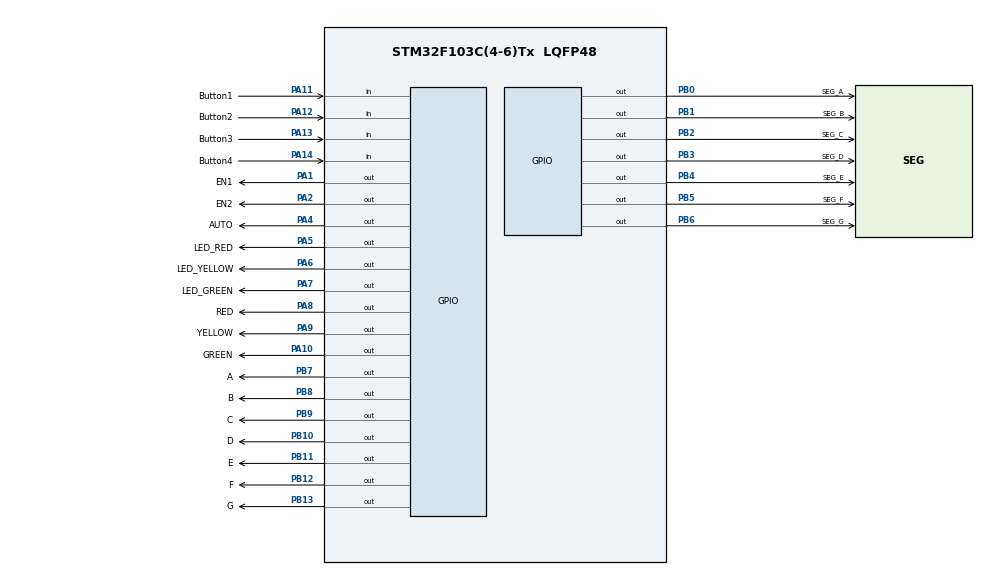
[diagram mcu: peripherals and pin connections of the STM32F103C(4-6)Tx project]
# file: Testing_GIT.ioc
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Mcu.Family=STM32F1
Mcu.Name=STM32F103C(4-6)Tx
Mcu.Package=LQFP48
NVIC.PriorityGroup=NVIC_PRIORITYGROUP_4
NVIC.TIM2_IRQn=true\:0\:0\:false\:false\:true\:true\:true
PA1.GPIO_Label=EN1
PA1.Signal=GPIO_Output
PA10.GPIO_Label=GREEN
PA10.Signal=GPIO_Output
PA11.GPIO_Label=Button1
PA11.GPIO_PuPd=GPIO_PULLUP
PA11.Signal=GPIO_Input
PA12.GPIO_Label=Button2
PA12.GPIO_PuPd=GPIO_PULLUP
PA12.Signal=GPIO_Input
PA13.GPIO_Label=Button3
PA13.GPIO_PuPd=GPIO_PULLUP
PA13.Signal=GPIO_Input
PA14.GPIO_Label=Button4
PA14.GPIO_PuPd=GPIO_PULLUP
PA14.Signal=GPIO_Input
PA2.GPIO_Label=EN2
PA2.Signal=GPIO_Output
PA4.GPIO_Label=AUTO
PA4.Signal=GPIO_Output
PA5.GPIO_Label=LED_RED
PA5.Signal=GPIO_Output
PA6.GPIO_Label=LED_YELLOW
PA6.Signal=GPIO_Output
PA7.GPIO_Label=LED_GREEN
PA7.Signal=GPIO_Output
PA8.GPIO_Label=RED
PA8.Signal=GPIO_Output
PA9.GPIO_Label=YELLOW
PA9.Signal=GPIO_Output
PB0.GPIO_Label=SEG_A
PB0.Signal=GPIO_Output
PB1.GPIO_Label=SEG_B
PB1.Signal=GPIO_Output
PB10.GPIO_Label=D
PB10.Signal=GPIO_Output
PB11.GPIO_Label=E
PB11.Signal=GPIO_Output
PB12.GPIO_Label=F
PB12.Signal=GPIO_Output
PB13.GPIO_Label=G
PB13.Signal=GPIO_Output
PB2.GPIO_Label=SEG_C
PB2.Signal=GPIO_Output
PB3.GPIO_Label=SEG_D
PB3.Signal=GPIO_Output
PB4.GPIO_Label=SEG_E
PB4.Signal=GPIO_Output
PB5.GPIO_Label=SEG_F
PB5.Signal=GPIO_Output
PB6.GPIO_Label=SEG_G
PB6.Signal=GPIO_Output
PB7.GPIO_Label=A
PB7.Signal=GPIO_Output
PB8.GPIO_Label=B
PB8.Signal=GPIO_Output
PB9.GPIO_Label=C
PB9.Signal=GPIO_Output
ProjectManager.HeapSize=0x200
ProjectManager.StackSize=0x400
ProjectManager.TargetToolchain=STM32CubeIDE
RCC.APB1Freq_Value=8000000
RCC.APB2Freq_Value=8000000
TIM2.Period=9
TIM2.Prescaler=7999
VP_SYS_VS_ND.Mode=No_Debug
VP_TIM2_VS_ClockSourceINT.Mode=Internal
board=custom

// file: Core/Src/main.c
/* USER CODE BEGIN Header */
/**
  ******************************************************************************
  * @file           : main.c
  * @brief          : Main program body
  ******************************************************************************
  * @attention
  *
  * <h2><center>&copy; Copyright (c) 2025 STMicroelectronics.
  * All rights reserved.</center></h2>
  *
  * This software component is licensed by ST under BSD 3-Clause license,
  * the "License"; You may not use this file except in compliance with the
  * License. You may obtain a copy of the License at:
  *                        opensource.org/licenses/BSD-3-Clause
  *
  ******************************************************************************
  */
/* USER CODE END Header */
#include "main.h"

/* USER CODE BEGIN Includes */
#include "software_timer.h"
#include "button.h"
#include "fsm_automatic.h"
#include "fsm_setup.h"
#include "scheduler.h"
/* USER CODE END Includes */

TIM_HandleTypeDef htim2;

void SystemClock_Config(void);
static void MX_GPIO_Init(void);
static void MX_TIM2_Init(void);
/* USER CODE BEGIN PFP */
void toggleLedAuto(){
	if(timer0_flag == 1){
    HAL_GPIO_TogglePin(AUTO_GPIO_Port, AUTO_Pin);
    if(counter >= 0) counter--;
    setTimer0(100);
	}
}

void update7SEGTask(){
    update7SEG(index_led);
    index_led++;
    if(index_led > 1) index_led = 0;
}
/* USER CODE END PFP */

int main(void)
{

  /* MCU Configuration--------------------------------------------------------*/

  /* Reset of all peripherals, Initializes the Flash interface and the Systick. */
  HAL_Init();

  /* Configure the system clock */
  SystemClock_Config();

  /* Initialize all configured peripherals */
  MX_GPIO_Init();
  MX_TIM2_Init();
  /* USER CODE BEGIN 2 */
  HAL_TIM_Base_Start_IT(&htim2);
  /* USER CODE END 2 */

  /* Infinite loop */
  /* USER CODE BEGIN WHILE */
  status = INIT;
  counter = 0;
  counter_green = 3;
  counter_red = 5;
  counter_yellow = 2;
  setTimer0(100);

  SCH_Init();
  SCH_Add_Task(timerRun, 0, 10);
  SCH_Add_Task(fsm_automatic_run, 0, 50);   // chạy mỗi 100ms
  SCH_Add_Task(fsm_man, 0, 50);
  SCH_Add_Task(fsm_setup_run, 0, 50);
  SCH_Add_Task(toggleLedAuto, 0, 1000);
  SCH_Add_Task(update7SEGTask, 0, 500);
  SCH_Add_Task(getKeyInput, 0, 10);

  //setTimer2(10);
  //setTimer3(10);
  while (1)
  {
	 SCH_Dispatch_Tasks();
    /* USER CODE END WHILE */

  }
}

void SystemClock_Config(void)
{
  RCC_OscInitTypeDef RCC_OscInitStruct = {0};
  RCC_ClkInitTypeDef RCC_ClkInitStruct = {0};

  /** Initializes the RCC Oscillators according to the specified parameters
  * in the RCC_OscInitTypeDef structure.
  */
  RCC_OscInitStruct.OscillatorType = RCC_OSCILLATORTYPE_HSI;
  RCC_OscInitStruct.HSIState = RCC_HSI_ON;
  RCC_OscInitStruct.HSICalibrationValue = RCC_HSICALIBRATION_DEFAULT;
  RCC_OscInitStruct.PLL.PLLState = RCC_PLL_NONE;
  if (HAL_RCC_OscConfig(&RCC_OscInitStruct) != HAL_OK)
  {
    Error_Handler();
  }
  /** Initializes the CPU, AHB and APB buses clocks
  */
  RCC_ClkInitStruct.ClockType = RCC_CLOCKTYPE_HCLK|RCC_CLOCKTYPE_SYSCLK
                              |RCC_CLOCKTYPE_PCLK1|RCC_CLOCKTYPE_PCLK2;
  RCC_ClkInitStruct.SYSCLKSource = RCC_SYSCLKSOURCE_HSI;
  RCC_ClkInitStruct.AHBCLKDivider = RCC_SYSCLK_DIV1;
  RCC_ClkInitStruct.APB1CLKDivider = RCC_HCLK_DIV1;
  RCC_ClkInitStruct.APB2CLKDivider = RCC_HCLK_DIV1;

  if (HAL_RCC_ClockConfig(&RCC_ClkInitStruct, FLASH_LATENCY_0) != HAL_OK)
  {
    Error_Handler();
  }
}

static void MX_TIM2_Init(void)
{

  TIM_ClockConfigTypeDef sClockSourceConfig = {0};
  TIM_MasterConfigTypeDef sMasterConfig = {0};

  htim2.Instance = TIM2;
  htim2.Init.Prescaler = 7999;
  htim2.Init.CounterMode = TIM_COUNTERMODE_UP;
  htim2.Init.Period = 9;
  htim2.Init.ClockDivision = TIM_CLOCKDIVISION_DIV1;
  htim2.Init.AutoReloadPreload = TIM_AUTORELOAD_PRELOAD_DISABLE;
  if (HAL_TIM_Base_Init(&htim2) != HAL_OK)
  {
    Error_Handler();
  }
  sClockSourceConfig.ClockSource = TIM_CLOCKSOURCE_INTERNAL;
  if (HAL_TIM_ConfigClockSource(&htim2, &sClockSourceConfig) != HAL_OK)
  {
    Error_Handler();
  }
  sMasterConfig.MasterOutputTrigger = TIM_TRGO_RESET;
  sMasterConfig.MasterSlaveMode = TIM_MASTERSLAVEMODE_DISABLE;
  if (HAL_TIMEx_MasterConfigSynchronization(&htim2, &sMasterConfig) != HAL_OK)
  {
    Error_Handler();
  }

}

static void MX_GPIO_Init(void)
{
  GPIO_InitTypeDef GPIO_InitStruct = {0};

  /* GPIO Ports Clock Enable */
  __HAL_RCC_GPIOA_CLK_ENABLE();
  __HAL_RCC_GPIOB_CLK_ENABLE();

  /*Configure GPIO pin Output Level */
  HAL_GPIO_WritePin(GPIOA, EN1_Pin|EN2_Pin|AUTO_Pin|LED_RED_Pin
                          |LED_YELLOW_Pin|LED_GREEN_Pin|RED_Pin|YELLOW_Pin
                          |GREEN_Pin, GPIO_PIN_RESET);

  /*Configure GPIO pin Output Level */
  HAL_GPIO_WritePin(GPIOB, SEG_A_Pin|SEG_B_Pin|SEG_C_Pin|D_Pin
                          |E_Pin|F_Pin|G_Pin|SEG_D_Pin
                          |SEG_E_Pin|SEG_F_Pin|SEG_G_Pin|A_Pin
                          |B_Pin|C_Pin, GPIO_PIN_RESET);

  /*Configure GPIO pins : EN1_Pin EN2_Pin AUTO_Pin LED_RED_Pin
                           LED_YELLOW_Pin LED_GREEN_Pin RED_Pin YELLOW_Pin
                           GREEN_Pin */
  GPIO_InitStruct.Pin = EN1_Pin|EN2_Pin|AUTO_Pin|LED_RED_Pin
                          |LED_YELLOW_Pin|LED_GREEN_Pin|RED_Pin|YELLOW_Pin
                          |GREEN_Pin;
  GPIO_InitStruct.Mode = GPIO_MODE_OUTPUT_PP;
  GPIO_InitStruct.Pull = GPIO_NOPULL;
  GPIO_InitStruct.Speed = GPIO_SPEED_FREQ_LOW;
  HAL_GPIO_Init(GPIOA, &GPIO_InitStruct);

  /*Configure GPIO pins : SEG_A_Pin SEG_B_Pin SEG_C_Pin D_Pin
                           E_Pin F_Pin G_Pin SEG_D_Pin
                           SEG_E_Pin SEG_F_Pin SEG_G_Pin A_Pin
                           B_Pin C_Pin */
  GPIO_InitStruct.Pin = SEG_A_Pin|SEG_B_Pin|SEG_C_Pin|D_Pin
                          |E_Pin|F_Pin|G_Pin|SEG_D_Pin
                          |SEG_E_Pin|SEG_F_Pin|SEG_G_Pin|A_Pin
                          |B_Pin|C_Pin;
  GPIO_InitStruct.Mode = GPIO_MODE_OUTPUT_PP;
  GPIO_InitStruct.Pull = GPIO_NOPULL;
  GPIO_InitStruct.Speed = GPIO_SPEED_FREQ_LOW;
  HAL_GPIO_Init(GPIOB, &GPIO_InitStruct);

  /*Configure GPIO pins : Button1_Pin Button2_Pin Button3_Pin Button4_Pin */
  GPIO_InitStruct.Pin = Button1_Pin|Button2_Pin|Button3_Pin|Button4_Pin;
  GPIO_InitStruct.Mode = GPIO_MODE_INPUT;
  GPIO_InitStruct.Pull = GPIO_PULLUP;
  HAL_GPIO_Init(GPIOA, &GPIO_InitStruct);

}

/* USER CODE BEGIN 4 */
void HAL_TIM_PeriodElapsedCallback(TIM_HandleTypeDef *htim){
	SCH_Update();
}
/* USER CODE END 4 */

void Error_Handler(void)
{
  __disable_irq();
  while (1)
  {
  }
}

/************************ (C) COPYRIGHT STMicroelectronics *****END OF FILE****/
